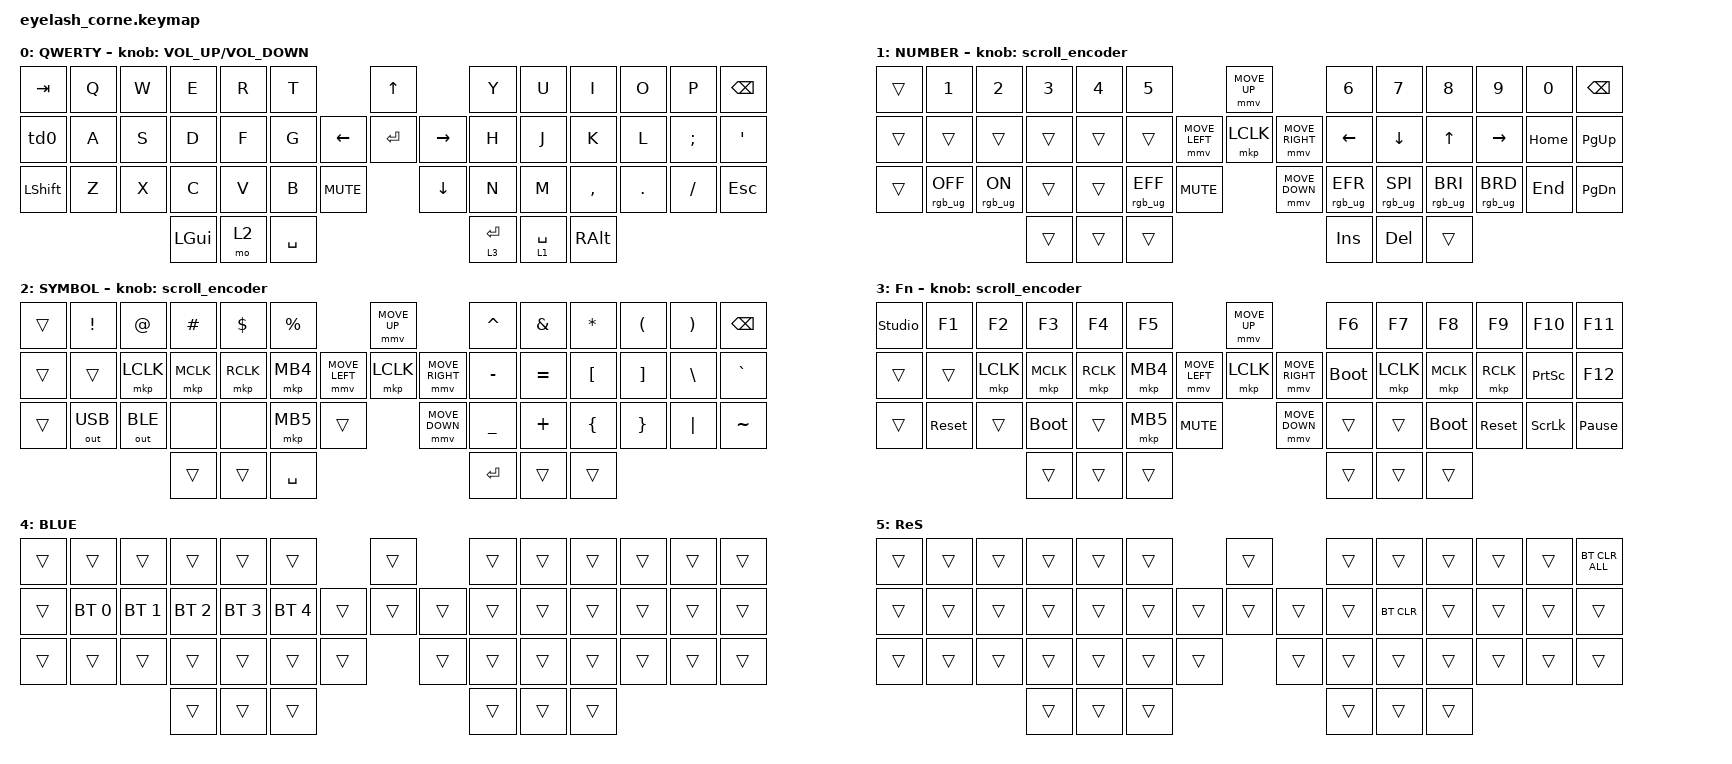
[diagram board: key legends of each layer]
#include <dt-bindings/zmk/mouse.h>
#include <input/processors.dtsi>
#include <behaviors.dtsi>
#include <dt-bindings/zmk/bt.h>
#include <dt-bindings/zmk/keys.h>
#include <dt-bindings/zmk/outputs.h>
#include <dt-bindings/zmk/pointing.h>
#include <dt-bindings/zmk/rgb.h>

/*

   &mmv_input_listener {
       input-processors = <&zip_xy_scaler 2 1>;
   };

   &msc_input_listener {
       input-processors = <&zip_xy_scaler 2 1>;
   };

 */

#define ZMK_MOUSE_DEFAULT_MOVE_VAL 1200  // 600
#define ZMK_MOUSE_DEFAULT_SCRL_VAL 20    // 10

/ {
    behaviors {
        td0: td0 {
            compatible = "zmk,behavior-tap-dance";
            display-name = "Shift/Caps Lock Tap Dance";
            #binding-cells = <0>;
            bindings = <&kp LCTRL>, <&kp CAPS>;
        };
    };

    rgb_encoder: rgb_encoder {
        compatible = "zmk,behavior-sensor-rotate";
        #sensor-binding-cells = <0>;
        bindings = <&rgb_ug RGB_BRI>, <&rgb_ug RGB_BRD>;
    };

    scroll_encoder: scroll_encoder {
        compatible = "zmk,behavior-sensor-rotate";
        #sensor-binding-cells = <0>;
        bindings = <&msc SCRL_DOWN>, <&msc SCRL_UP>;

        tap-ms = <30>;
    };

    combos {
        compatible = "zmk,combos";

        Layer4 {
            bindings = <&mo 4>;
            key-positions = <44 45>;
            layers = <0>;
        };

        Exit {
            bindings = <&kp ESCAPE>;
            key-positions = <23 24>;
            layers = <0>;
        };

        Reset {
            bindings = <&mo 5>;
            key-positions = <44 45 41>;
            layers = <0>;
        };
    };

    keymap {
        compatible = "zmk,keymap";

        default_layer {
            display-name = "QWERTY";
            bindings = <
&kp TAB     &kp Q  &kp W  &kp E     &kp R  &kp T                              &kp UP                &kp Y        &kp U        &kp I      &kp O    &kp P     &kp BSPC
&td0        &kp A  &kp S  &kp D     &kp F  &kp G                    &kp LEFT  &kp ENTER  &kp RIGHT  &kp H        &kp J        &kp K      &kp L    &kp SEMI  &kp SQT
&kp LSHIFT  &kp Z  &kp X  &kp C     &kp V  &kp B      &kp K_MUTE              &kp DOWN              &kp N        &kp M        &kp COMMA  &kp DOT  &kp FSLH  &kp ESC
                          &kp LGUI  &mo 2  &kp SPACE                                                &lt 3 ENTER  &lt 1 SPACE  &kp RALT
            >;

            sensor-bindings = <&inc_dec_kp C_VOLUME_UP C_VOLUME_DOWN>;
        };

        lower_layer {
            display-name = "NUMBER";
            bindings = <
&trans  &kp N1           &kp N2          &kp N3  &kp N4  &kp N5                                         &mmv MOVE_UP                     &kp N6           &kp N7           &kp N8           &kp N9           &kp N0    &kp BSPC
&trans  &trans           &trans          &trans  &trans  &trans                         &mmv MOVE_LEFT  &mkp LCLK       &mmv MOVE_RIGHT  &kp LEFT         &kp DOWN         &kp UP           &kp RIGHT        &kp HOME  &kp PG_UP
&trans  &rgb_ug RGB_OFF  &rgb_ug RGB_ON  &trans  &trans  &rgb_ug RGB_EFF  &kp C_MUTE                    &mmv MOVE_DOWN                   &rgb_ug RGB_EFR  &rgb_ug RGB_SPI  &rgb_ug RGB_BRI  &rgb_ug RGB_BRD  &kp END   &kp PG_DN
                                         &trans  &trans  &trans                                                                          &kp INS          &kp DEL          &trans
            >;

            sensor-bindings = <&scroll_encoder>;
        };

        raise_layer {
            display-name = "SYMBOL";
            bindings = <
&trans  &kp EXCL      &kp AT        &kp HASH   &kp DLLR   &kp PRCNT                            &mmv MOVE_UP                     &kp CARET  &kp AMPS   &kp ASTRK  &kp LPAR  &kp RPAR  &kp BSPC
&trans  &trans        &mkp LCLK     &mkp MCLK  &mkp RCLK  &mkp MB4             &mmv MOVE_LEFT  &mkp LCLK       &mmv MOVE_RIGHT  &kp MINUS  &kp EQUAL  &kp LBKT   &kp RBKT  &kp BSLH  &kp GRAVE
&trans  &out OUT_USB  &out OUT_BLE  &none      &none      &mkp MB5   &trans                    &mmv MOVE_DOWN                   &kp UNDER  &kp PLUS   &kp LBRC   &kp RBRC  &kp PIPE  &kp TILDE
                                    &trans     &trans     &kp SPACE                                                             &kp RET    &trans     &trans
            >;

            sensor-bindings = <&scroll_encoder>;
        };

        fn_layer {
            display-name = "Fn";
            bindings = <
&studio_unlock  &kp F1      &kp F2     &kp F3       &kp F4     &kp F5                                  &mmv MOVE_UP                     &kp F6       &kp F7     &kp F8       &kp F9      &kp F10          &kp F11
&trans          &trans      &mkp LCLK  &mkp MCLK    &mkp RCLK  &mkp MB4                &mmv MOVE_LEFT  &mkp LCLK       &mmv MOVE_RIGHT  &bootloader  &mkp LCLK  &mkp MCLK    &mkp RCLK   &kp PRINTSCREEN  &kp F12
&trans          &sys_reset  &trans     &bootloader  &trans     &mkp MB5  &kp C_MUTE                    &mmv MOVE_DOWN                   &trans       &trans     &bootloader  &sys_reset  &kp SCROLLLOCK   &kp PAUSE_BREAK
                                       &trans       &trans     &trans                                                                   &trans       &trans     &trans
            >;

            sensor-bindings = <&scroll_encoder>;
        };

        bluetooth {
            bindings = <
&trans  &trans        &trans        &trans        &trans        &trans                          &trans          &trans  &trans  &trans  &trans  &trans  &trans
&trans  &bt BT_SEL 0  &bt BT_SEL 1  &bt BT_SEL 2  &bt BT_SEL 3  &bt BT_SEL 4            &trans  &trans  &trans  &trans  &trans  &trans  &trans  &trans  &trans
&trans  &trans        &trans        &trans        &trans        &trans        &trans            &trans          &trans  &trans  &trans  &trans  &trans  &trans
                                    &trans        &trans        &trans                                          &trans  &trans  &trans
            >;

            label = "BLUE";
        };

        reset_layer {
            bindings = <
&trans  &trans  &trans  &trans  &trans  &trans                    &trans          &trans  &trans      &trans  &trans  &trans  &bt BT_CLR_ALL
&trans  &trans  &trans  &trans  &trans  &trans            &trans  &trans  &trans  &trans  &bt BT_CLR  &trans  &trans  &trans  &trans
&trans  &trans  &trans  &trans  &trans  &trans  &trans            &trans          &trans  &trans      &trans  &trans  &trans  &trans
                        &trans  &trans  &trans                                    &trans  &trans      &trans
            >;

            label = "ReS";
        };
    };
};
